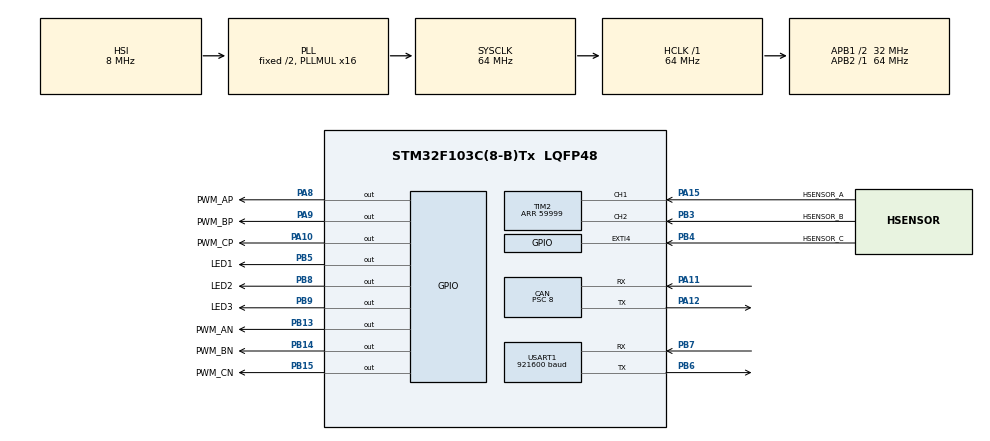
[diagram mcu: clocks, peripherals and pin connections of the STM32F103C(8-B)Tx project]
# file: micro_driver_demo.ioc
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CAN.BS1=CAN_BS1_3TQ
CAN.BS2=CAN_BS2_4TQ
CAN.CalculateTimeBit=2000
CAN.CalculateTimeQuantum=250.0
CAN.Mode=CAN_MODE_NORMAL
CAN.Prescaler=8
Mcu.Family=STM32F1
Mcu.Name=STM32F103C(8-B)Tx
Mcu.Package=LQFP48
NVIC.EXTI4_IRQn=true\:1\:0\:true\:false\:true\:true\:true
NVIC.PriorityGroup=NVIC_PRIORITYGROUP_4
NVIC.TIM1_CC_IRQn=true\:1\:0\:true\:false\:true\:true\:true
NVIC.TIM1_UP_IRQn=true\:1\:0\:true\:false\:true\:true\:true
NVIC.TIM3_IRQn=true\:2\:0\:true\:false\:true\:true\:true
NVIC.TIM4_IRQn=true\:3\:0\:true\:false\:true\:true\:true
PA10.GPIO_Label=PWM_CP
PA10.GPIO_Speed=GPIO_SPEED_FREQ_HIGH
PA10.Signal=GPIO_Output
PA11.Mode=Master
PA11.Signal=CAN_RX
PA12.Mode=Master
PA12.Signal=CAN_TX
PA13.Mode=Serial_Wire
PA13.Signal=SYS_JTMS-SWDIO
PA14.Mode=Serial_Wire
PA14.Signal=SYS_JTCK-SWCLK
PA15.GPIO_Label=HSENSOR_A
PA15.Signal=S_TIM2_CH1_ETR
PA8.GPIO_Label=PWM_AP
PA8.GPIO_Speed=GPIO_SPEED_FREQ_HIGH
PA8.Signal=GPIO_Output
PA9.GPIO_Label=PWM_BP
PA9.GPIO_Speed=GPIO_SPEED_FREQ_HIGH
PA9.Signal=GPIO_Output
PB13.GPIO_Label=PWM_AN
PB13.GPIO_Speed=GPIO_SPEED_FREQ_HIGH
PB13.Signal=GPIO_Output
PB14.GPIO_Label=PWM_BN
PB14.GPIO_Speed=GPIO_SPEED_FREQ_HIGH
PB14.Signal=GPIO_Output
PB15.GPIO_Label=PWM_CN
PB15.GPIO_Speed=GPIO_SPEED_FREQ_HIGH
PB15.Signal=GPIO_Output
PB3.GPIO_Label=HSENSOR_B
PB3.Signal=S_TIM2_CH2
PB4.GPIO_Label=HSENSOR_C
PB4.GPIO_ModeDefaultEXTI=GPIO_MODE_IT_RISING
PB4.Signal=GPXTI4
PB5.GPIO_Label=LED1
PB5.GPIO_ModeDefaultOutputPP=GPIO_MODE_OUTPUT_OD
PB5.Signal=GPIO_Output
PB6.Mode=Asynchronous
PB6.Signal=USART1_TX
PB7.Mode=Asynchronous
PB7.Signal=USART1_RX
PB8.GPIO_Label=LED2
PB8.GPIO_ModeDefaultOutputPP=GPIO_MODE_OUTPUT_OD
PB8.Signal=GPIO_Output
PB9.GPIO_Label=LED3
PB9.GPIO_ModeDefaultOutputPP=GPIO_MODE_OUTPUT_OD
PB9.Signal=GPIO_Output
ProjectManager.HeapSize=0x200
ProjectManager.StackSize=0x400
ProjectManager.TargetToolchain=MDK-ARM V5
RCC.AHBFreq_Value=64000000
RCC.APB1CLKDivider=RCC_HCLK_DIV2
RCC.APB1Freq_Value=32000000
RCC.APB1TimFreq_Value=64000000
RCC.APB2Freq_Value=64000000
RCC.APB2TimFreq_Value=64000000
RCC.HCLKFreq_Value=64000000
RCC.PLLMUL=RCC_PLL_MUL16
RCC.SYSCLKFreq_VALUE=64000000
RCC.SYSCLKSource=RCC_SYSCLKSOURCE_PLLCLK
RCC.USBFreq_Value=64000000
SH.S_TIM2_CH1_ETR.0=TIM2_CH1,Encoder_Interface
SH.S_TIM2_CH2.0=TIM2_CH2,Encoder_Interface
TIM1.AutoReloadPreload=TIM_AUTORELOAD_PRELOAD_ENABLE
TIM1.Channel-PWM\ Generation1\ No\ Output=TIM_CHANNEL_1
TIM1.Period=19999
TIM1.Pulse-PWM\ Generation1\ No\ Output=2000
TIM2.EncoderMode=TIM_ENCODERMODE_TI1
TIM2.IC1Filter=0
TIM2.Period=59999
TIM3.Period=63
TIM3.Prescaler=999
TIM4.Period=65535
TIM4.Prescaler=99
USART1.BaudRate=921600
USART1.VirtualMode=VM_ASYNC
VP_TIM1_VS_ClockSourceINT.Mode=Internal
VP_TIM1_VS_no_output1.Mode=PWM Generation1 No Output
VP_TIM3_VS_ClockSourceINT.Mode=Internal
VP_TIM4_VS_ClockSourceINT.Mode=Internal
board=custom

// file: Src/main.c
/* USER CODE BEGIN Header */
/**
  ******************************************************************************
  * @file           : main.c
  * @brief          : Main program body
  ******************************************************************************
  * @attention
  *
  * <h2><center>&copy; Copyright (c) 2020 STMicroelectronics.
  * All rights reserved.</center></h2>
  *
  * This software component is licensed by ST under BSD 3-Clause license,
  * the "License"; You may not use this file except in compliance with the
  * License. You may obtain a copy of the License at:
  *                        opensource.org/licenses/BSD-3-Clause
  *
  ******************************************************************************
  */
/* USER CODE END Header */

#include "main.h"
#include "can.h"
#include "tim.h"
#include "usart.h"
#include "gpio.h"

/* USER CODE BEGIN PV */
/***********************【Encoder】**************************/
#define _ENCODER_CYCLE_ 60000
#define _ENCODER_RESET_VALUE_ 30000
uint32_t g_Encoder = _ENCODER_RESET_VALUE_;
/***********************【Encoder end】**************************/

/***********************【Speed Sense】**************************/
uint32_t g_TCount_Repeats = 0;
double g_Wsense = 0.0f; //radian unit
/***********************【Speed Sense end】**************************/

/***********************【PID Controller】**************************/
uint8_t gb_Release_Motor = 1;
uint8_t g_PWM_Dir = 0; //0 stands for anticlockwise
uint32_t g_PWM_Out = 0;
#define _PWM_CYCLE_FULL_ 2000 //修改定时器周期时，记得同步修改这里！
#define _PWM_CYCLE_SAFE_ (_PWM_CYCLE_FULL_ - 100)
#define _PWM_CYCLE_OFFSET_ 200 //400

#define _PWM_BASE_SCALE_ (_PWM_CYCLE_FULL_ * (1.0 / (2.0 * 3.1416 * 4500.0 * 7.2 / 60.0)))
double g_Vset = 0.0; //-123.0; //对应15000rpm

double g_Err_Pre = 0;
float g_PWM = 0;
const float g_Kp = 1.0 * _PWM_BASE_SCALE_;
const float g_Ki = 0.05 * g_Kp;
const float g_Tscale = 1.0;

/***********************【PID Controller end】**************************/

/***********************【Block Boost】**************************/
uint8_t gb_Blocked = 0;
uint16_t gn_Block_Boost_Count = 0;
uint8_t gn_Block_Boost_Offset = 0;
#define _BOOST_COUNTS_ (((uint32_t)(4 * 9 * 1) / (uint32_t)6) * 6) //要求?????6的???数

//TODO : 将拖动电压设置为可以pwm调节,以缓解启动发热问?????

/***********************【Block Boost End】**************************/

/* USER CODE END PV */

void SystemClock_Config(void);

/* USER CODE BEGIN 0 */
/***********************【Debug Info】**************************/
void send_debug_info_pwm_w(int16_t pwm, int32_t encoder, float w)
{
  const size_t data_length = 1 + sizeof(int16_t) + sizeof(int32_t) + sizeof(float) + 2;
  uint8_t data[data_length];
  data[0] = 0xa5;
  data[data_length - 2] = 0;
  data[data_length - 1] = 0x5a;

  memcpy(data + 1, (uint8_t *)(&pwm), sizeof(int16_t));
  memcpy(data + 1 + sizeof(int16_t), (uint8_t *)(&encoder), sizeof(int32_t));
  memcpy(data + 1 + sizeof(int16_t) + sizeof(int32_t), (uint8_t *)(&w), sizeof(float));

  for (size_t i = 1; i < data_length - 2; i++)
  {
    data[data_length - 2] += data[i];
  }

  HAL_UART_Transmit(&huart1, data, data_length, 0xFFFF);
}

/***************************【can bus】********************************/
CAN_TxHeaderTypeDef canTxMsg;
uint32_t tx_mail_box;
uint8_t can_data[8] = {'c', 'a', 'n', ' ', 't', 'e', 's', 't'};
void send_can_bus()
{
  canTxMsg.StdId = 0x123;
  canTxMsg.RTR = CAN_RTR_DATA;
  canTxMsg.IDE = CAN_ID_STD;
  canTxMsg.DLC = 8;

  HAL_StatusTypeDef ret = HAL_CAN_AddTxMessage(&hcan, &canTxMsg, can_data, &tx_mail_box);
}
/* USER CODE END 0 */

int main(void)
{
  /* USER CODE BEGIN 1 */
  //尽可能快速地将mosfet驱动 gpio设置低电平！
  GPIOA->BSRR = (uint32_t)(PWM_AP_Pin | PWM_BP_Pin | PWM_CP_Pin) << 16u;
  GPIOB->BSRR = (uint32_t)(PWM_AN_Pin | PWM_BN_Pin | PWM_CN_Pin) << 16u;
  /* USER CODE END 1 */

  /* MCU Configuration--------------------------------------------------------*/

  /* Reset of all peripherals, Initializes the Flash interface and the Systick. */
  HAL_Init();

  /* Configure the system clock */
  SystemClock_Config();

  /* Initialize all configured peripherals */
  MX_GPIO_Init();
  MX_CAN_Init();
  MX_TIM1_Init();
  MX_TIM2_Init();
  MX_TIM3_Init();
  MX_TIM4_Init();
  MX_USART1_UART_Init();
  /* USER CODE BEGIN 2 */
  //CAN_User_Init(&hcan);
  HAL_StatusTypeDef HAL_Status = HAL_CAN_Start(&hcan); //开启CAN
  if (HAL_Status != HAL_OK)
  {
    int i = 9;
    i++;
    //printf("开启CAN失败\r\n");
  }
  /* USER CODE END 2 */

  /* Infinite loop */
  /* USER CODE BEGIN WHILE */

  //debug step1 !!!!!
  gb_Release_Motor = 1; //0;
  g_Vset = 0;           //150;

  int i = 0;
  while (1)
  {
    HAL_Delay(2);
    i++;

    if (i % 10 == 0)
    {
      //HAL_GPIO_WritePin(GPIOA, GPIO_PIN_12, GPIO_PIN_SET);
      HAL_GPIO_WritePin(GPIOB, LED1_Pin, GPIO_PIN_SET);
    }
    else if (i % 10 == 5)
    {
      //HAL_GPIO_WritePin(GPIOA, GPIO_PIN_12, GPIO_PIN_RESET);
      HAL_GPIO_WritePin(GPIOB, LED1_Pin, GPIO_PIN_RESET);
    }

    //Send Debug Info
    g_Encoder = __HAL_TIM_GET_COUNTER(&htim2);
    //send_debug_info_pwm_w(g_PWM_Out, g_Encoder, g_Wsense);

    //debug can bus
    //HAL_CAN_Transmit(&hcan, 10);
    send_can_bus();
    //CANx_SendNormalData(&hcan, 0x012, can_data, 8);
//debug step2 !!!!!
#if 0
    static uint8_t pingpong = 0;
    if (pingpong == 0)
    {
      if (g_Encoder < 1000 + _ENCODER_RESET_VALUE_)
      {
        gb_Release_Motor = 0;
        g_Vset = 150;
      }
      else
      {
        pingpong = 1;
      }
    }
    else if (pingpong == 1)
    {
      if (g_Encoder > _ENCODER_RESET_VALUE_)
      {
        gb_Release_Motor = 0;
        g_Vset = -150;
      }
      else
      {
        pingpong = 0;
      }
    }
#endif

    /* USER CODE END WHILE */

  }
}

void SystemClock_Config(void)
{
  RCC_OscInitTypeDef RCC_OscInitStruct = {0};
  RCC_ClkInitTypeDef RCC_ClkInitStruct = {0};

  /** Initializes the CPU, AHB and APB busses clocks
  */
  RCC_OscInitStruct.OscillatorType = RCC_OSCILLATORTYPE_HSI;
  RCC_OscInitStruct.HSIState = RCC_HSI_ON;
  RCC_OscInitStruct.HSICalibrationValue = RCC_HSICALIBRATION_DEFAULT;
  RCC_OscInitStruct.PLL.PLLState = RCC_PLL_ON;
  RCC_OscInitStruct.PLL.PLLSource = RCC_PLLSOURCE_HSI_DIV2;
  RCC_OscInitStruct.PLL.PLLMUL = RCC_PLL_MUL16;
  if (HAL_RCC_OscConfig(&RCC_OscInitStruct) != HAL_OK)
  {
    Error_Handler();
  }
  /** Initializes the CPU, AHB and APB busses clocks
  */
  RCC_ClkInitStruct.ClockType = RCC_CLOCKTYPE_HCLK | RCC_CLOCKTYPE_SYSCLK | RCC_CLOCKTYPE_PCLK1 | RCC_CLOCKTYPE_PCLK2;
  RCC_ClkInitStruct.SYSCLKSource = RCC_SYSCLKSOURCE_PLLCLK;
  RCC_ClkInitStruct.AHBCLKDivider = RCC_SYSCLK_DIV1;
  RCC_ClkInitStruct.APB1CLKDivider = RCC_HCLK_DIV2;
  RCC_ClkInitStruct.APB2CLKDivider = RCC_HCLK_DIV1;

  if (HAL_RCC_ClockConfig(&RCC_ClkInitStruct, FLASH_LATENCY_2) != HAL_OK)
  {
    Error_Handler();
  }
}

/* USER CODE BEGIN 4 */

//pwm 占空比高电平结束回调函数，在这里清零电机驱动
void HAL_TIM_PWM_PulseFinishedCallback(TIM_HandleTypeDef *htim)
{
  if (htim == (&htim1))
  {
    if (htim->Channel == HAL_TIM_ACTIVE_CHANNEL_1)
    {
      if (gn_Block_Boost_Count > 0)
      {
        return;
      }

      HAL_GPIO_WritePin(GPIOA, PWM_AP_Pin | PWM_BP_Pin | PWM_CP_Pin, GPIO_PIN_RESET);
      HAL_GPIO_WritePin(GPIOB, PWM_AN_Pin | PWM_BN_Pin | PWM_CN_Pin, GPIO_PIN_RESET);
    }
  }
}

static const uint16_t table_set_PortA[16] =
    {
        PWM_BP_Pin,
        PWM_BP_Pin,
        //---------------------------------
        0,
        //---------------------------------//
        PWM_AP_Pin,
        PWM_CP_Pin,
        //---------------------------------
        0,
        //---------------------------------//
        PWM_CP_Pin,
        PWM_AP_Pin,
        ///////////////////////////////////////////////
        PWM_AP_Pin,
        PWM_CP_Pin,
        //---------------------------------
        0,
        //---------------------------------//
        PWM_CP_Pin,
        PWM_AP_Pin,
        //---------------------------------
        0,
        //---------------------------------//
        PWM_BP_Pin,
        PWM_BP_Pin};

static const uint16_t table_set_PortB[16] =
    {
        PWM_AN_Pin,
        PWM_CN_Pin,
        //---------------------------------
        0,
        //---------------------------------//
        PWM_CN_Pin,
        PWM_AN_Pin,
        //---------------------------------
        0,
        //---------------------------------//
        PWM_BN_Pin,
        PWM_BN_Pin,
        ///////////////////////////////////////////////
        PWM_BN_Pin,
        PWM_BN_Pin,
        //---------------------------------
        0,
        //---------------------------------//
        PWM_AN_Pin,
        PWM_CN_Pin,
        //---------------------------------
        0,
        //---------------------------------//
        PWM_CN_Pin,
        PWM_AN_Pin};

static const uint16_t table_reset_PortA[16] =
    {
        PWM_AP_Pin | PWM_CP_Pin,
        PWM_AP_Pin | PWM_CP_Pin,
        //---------------------------------
        PWM_AP_Pin | PWM_BP_Pin | PWM_CP_Pin,
        //---------------------------------//
        PWM_BP_Pin | PWM_CP_Pin,
        PWM_AP_Pin | PWM_BP_Pin,
        //---------------------------------
        PWM_AP_Pin | PWM_BP_Pin | PWM_CP_Pin,
        //---------------------------------//
        PWM_AP_Pin | PWM_BP_Pin,
        PWM_BP_Pin | PWM_CP_Pin,
        ///////////////////////////////////////////////////////////
        PWM_BP_Pin | PWM_CP_Pin,
        PWM_AP_Pin | PWM_BP_Pin,
        //---------------------------------
        PWM_AP_Pin | PWM_BP_Pin | PWM_CP_Pin,
        //---------------------------------//
        PWM_AP_Pin | PWM_BP_Pin,
        PWM_BP_Pin | PWM_CP_Pin,
        //---------------------------------
        PWM_AP_Pin | PWM_BP_Pin | PWM_CP_Pin,
        //---------------------------------//
        PWM_AP_Pin | PWM_CP_Pin,
        PWM_AP_Pin | PWM_CP_Pin};
static const uint16_t table_reset_PortB[16] =
    {
        PWM_BN_Pin | PWM_CN_Pin,
        PWM_AN_Pin | PWM_BN_Pin,
        //---------------------------------
        PWM_AN_Pin | PWM_BN_Pin | PWM_CN_Pin,
        //---------------------------------//
        PWM_AN_Pin | PWM_BN_Pin,
        PWM_BN_Pin | PWM_CN_Pin,
        //---------------------------------
        PWM_AN_Pin | PWM_BN_Pin | PWM_CN_Pin,
        //---------------------------------//
        PWM_AN_Pin | PWM_CN_Pin,
        PWM_AN_Pin | PWM_CN_Pin,
        ///////////////////////////////////////////////////////////
        PWM_AN_Pin | PWM_CN_Pin,
        PWM_AN_Pin | PWM_CN_Pin,
        //---------------------------------
        PWM_AN_Pin | PWM_BN_Pin | PWM_CN_Pin,
        //---------------------------------//
        PWM_BN_Pin | PWM_CN_Pin,
        PWM_AN_Pin | PWM_BN_Pin,
        //---------------------------------
        PWM_AN_Pin | PWM_BN_Pin | PWM_CN_Pin,
        //---------------------------------//
        PWM_AN_Pin | PWM_BN_Pin,
        PWM_BN_Pin | PWM_CN_Pin};

static const uint8_t boost_table_offset[8] =
    {
        //红绿?????
        5, //0 0 0
        4, //0 0 1
        0, //xxx
        3, //0 1 1
        0, //1 0 0
        0, //xxx
        1, //1 1 0
        2  //1 1 1
};

static const uint16_t boost_table_set_PortA[6] =
    {
        PWM_BP_Pin, //红x ?????1 ?????0
        PWM_BP_Pin, //?????0 ?????1 蓝x
        PWM_CP_Pin, //?????0 绿x ?????1
        PWM_CP_Pin, //红x ?????0 ?????1
        PWM_AP_Pin, //?????1 ?????0 蓝x
        PWM_AP_Pin, //?????1 绿x ?????0
};

static const uint16_t boost_table_set_PortB[6] =
    {
        PWM_CN_Pin, //红x ?????1 ?????0
        PWM_AN_Pin, //?????0 ?????1 蓝x
        PWM_AN_Pin, //?????0 绿x ?????1
        PWM_BN_Pin, //红x ?????0 ?????1
        PWM_BN_Pin, //?????1 ?????0 蓝x
        PWM_CN_Pin, //?????1 绿x ?????0
};

static const uint16_t boost_table_reset_PortA[6] =
    {
        PWM_AP_Pin | PWM_CP_Pin, //红x ?????1 ?????0
        PWM_AP_Pin | PWM_CP_Pin, //?????0 ?????1 蓝x
        PWM_AP_Pin | PWM_BP_Pin, //?????0 绿x ?????1
        PWM_AP_Pin | PWM_BP_Pin, //红x ?????0 ?????1
        PWM_BP_Pin | PWM_CP_Pin, //?????1 ?????0 蓝x
        PWM_BP_Pin | PWM_CP_Pin, //?????1 绿x ?????0
};

static const uint16_t boost_table_reset_PortB[6] =
    {
        PWM_AN_Pin | PWM_BN_Pin, //红x ?????1 ?????0
        PWM_BN_Pin | PWM_CN_Pin, //?????0 ?????1 蓝x
        PWM_BN_Pin | PWM_CN_Pin, //?????0 绿x ?????1
        PWM_AN_Pin | PWM_CN_Pin, //红x ?????0 ?????1
        PWM_AN_Pin | PWM_CN_Pin, //?????1 ?????0 蓝x
        PWM_AN_Pin | PWM_BN_Pin, //?????1 绿x ?????0
};

uint8_t GetHallState()
{
  GPIO_PinState sa = 1 - HAL_GPIO_ReadPin(HSENSOR_A_GPIO_Port, HSENSOR_A_Pin);
  GPIO_PinState sb = 1 - HAL_GPIO_ReadPin(HSENSOR_B_GPIO_Port, HSENSOR_B_Pin);
  GPIO_PinState sc = 1 - HAL_GPIO_ReadPin(HSENSOR_C_GPIO_Port, HSENSOR_C_Pin);
  uint8_t s_state = (((uint8_t)sa) << 2) | (((uint8_t)sb) << 1) | (((uint8_t)sc) << 0);
  return s_state;
}

//64MHz时钟条件下，约等于100ns
void DelayDeadTime()
{
  __NOP();
  __NOP();
  __NOP();
  __NOP();
  __NOP();
  __NOP();

  __NOP();
  __NOP();
  __NOP();
  __NOP();
  __NOP();
  __NOP();
}
//TODO 定时器计数溢出中断,htim1在这里根据位置传感器决定驱动电流方向,
void HAL_TIM_PeriodElapsedCallback(TIM_HandleTypeDef *htim)
{
  if (htim == (&htim1))
  {
    if (gn_Block_Boost_Count > 0 || gb_Release_Motor > 0)
    {
      return;
    }

    //查表输出
    const uint8_t s_state = GetHallState() + g_PWM_Dir * 8;

    //先reset，再set!
    HAL_GPIO_WritePin(GPIOA, table_reset_PortA[s_state], GPIO_PIN_RESET);
    HAL_GPIO_WritePin(GPIOB, table_reset_PortB[s_state], GPIO_PIN_RESET);

    DelayDeadTime();

    HAL_GPIO_WritePin(GPIOA, table_set_PortA[s_state], GPIO_PIN_SET);
    HAL_GPIO_WritePin(GPIOB, table_set_PortB[s_state], GPIO_PIN_SET);
  }

  else if (htim == (&htim3)) //1k hz
  {
    //0.0 release motor
    if (gb_Release_Motor > 0)
      return;
    //1.0 block proccess
    if (gb_Blocked >= 1 && gn_Block_Boost_Count == 0)
    {
      //gn_Block_Boost_Count = _BOOST_COUNTS_; // START A BOOST PROCCESS...
      uint8_t s_state = GetHallState();
      gn_Block_Boost_Offset = boost_table_offset[s_state];
    }

    if (gn_Block_Boost_Count > 0)
    {
      uint8_t idx;
      if (g_Vset > 0)
        idx = (gn_Block_Boost_Offset + _BOOST_COUNTS_ - gn_Block_Boost_Count) % 6;
      else
        idx = (gn_Block_Boost_Offset + gn_Block_Boost_Count) % 6;
      HAL_GPIO_WritePin(GPIOA, boost_table_reset_PortA[idx], GPIO_PIN_RESET);
      HAL_GPIO_WritePin(GPIOB, boost_table_reset_PortB[idx], GPIO_PIN_RESET);
      DelayDeadTime();
      HAL_GPIO_WritePin(GPIOA, boost_table_set_PortA[idx], GPIO_PIN_SET);
      HAL_GPIO_WritePin(GPIOB, boost_table_set_PortB[idx], GPIO_PIN_SET);

      gn_Block_Boost_Count--;
      return;
    }

    //2.0 pid control
    double Err_Cur = g_Vset - g_Wsense;
    float d_pwm = g_Tscale * (g_Kp * (Err_Cur - g_Err_Pre) + g_Ki * Err_Cur);
    g_PWM += d_pwm;

    float pwm_base = _PWM_BASE_SCALE_ * Err_Cur;
    float pwm_cur = g_PWM + pwm_base;

    if (pwm_cur >= _PWM_CYCLE_SAFE_ - _PWM_CYCLE_OFFSET_)
    {
      pwm_cur = _PWM_CYCLE_SAFE_ - _PWM_CYCLE_OFFSET_ - 1;
    }
    if (pwm_cur <= -(_PWM_CYCLE_SAFE_ - _PWM_CYCLE_OFFSET_))
    {
      pwm_cur = -(_PWM_CYCLE_SAFE_ - _PWM_CYCLE_OFFSET_ - 1);
    }
    g_PWM = pwm_cur - pwm_base;

    g_PWM_Out = abs((int32_t)pwm_cur) + _PWM_CYCLE_OFFSET_;
    g_PWM_Dir = pwm_cur > 0 ? 0 : 1;

    g_Err_Pre = Err_Cur;

    //TODO test
    g_PWM_Dir = 0;
    g_PWM_Out = 8000;
    __HAL_TIM_SET_COMPARE(&htim1, TIM_CHANNEL_1, g_PWM_Out);
  }
  else if (htim == (&htim4)) //about 10Hz
  {
    g_TCount_Repeats++;
    static uint16_t pre_encoder = 0;
    uint16_t cur_encoder = __HAL_TIM_GET_COUNTER(&htim2);
    if (cur_encoder == pre_encoder)
    {
      g_Wsense = 0;

      if (g_Vset > 1e-3 || g_Vset < -1e-3)
      {
        gb_Blocked = 1;
      }
    }
    else
    {
      gb_Blocked = 0;
    }
    pre_encoder = cur_encoder;
  }
}

//这里主要用于计算角速度
void HAL_GPIO_EXTI_Callback(uint16_t GPIO_Pin)
{
  if (GPIO_Pin == HSENSOR_C_Pin)
  {
    uint16_t timer_count = (uint16_t)(__HAL_TIM_GET_COUNTER(&htim4));
    uint32_t timer_repeat = g_TCount_Repeats;
    uint8_t cur_polar = HAL_GPIO_ReadPin(HSENSOR_B_GPIO_Port, HSENSOR_B_Pin); //逆时针旋转时，???应?????????1
    static uint16_t pre_timer_count = 0;
    static uint32_t pre_timer_repeat = 0;
    static uint8_t pre_polar = 0;

    uint32_t delta_repeat = timer_repeat - pre_timer_repeat;
    if (delta_repeat > 10) //时间跨度大于1??????
    {
      g_Wsense = 0;
    }
    else
    {
      if (delta_repeat > 1)
      {
        delta_repeat = delta_repeat - 1; //delta_repeat == 1 的情况，已经被uint16_t 的补数机制覆盖到！
      }
      else
      {
        delta_repeat = 0;
      }

      uint16_t delta_count = timer_count - pre_timer_count;
      double delta_t = ((double)delta_count + delta_repeat * 65536) / 640000.0f; //因为预分频为100
      double delta_angel = 0;

      const double angel_p = 2.0 * 3.1415926 / 6.0;
      if ((pre_polar == 1) && (cur_polar == 1))
      {
        delta_angel = angel_p;
      }
      else if ((pre_polar == 0) && (cur_polar == 0))
      {
        delta_angel = -angel_p;
      }
      else
      {
        delta_angel = 0;
      }

      g_Wsense = delta_angel / delta_t;
    }

    pre_timer_count = timer_count;
    pre_timer_repeat = timer_repeat;
    pre_polar = cur_polar;
  }
}
/* USER CODE END 4 */

void Error_Handler(void)
{
}

/************************ (C) COPYRIGHT STMicroelectronics *****END OF FILE****/
